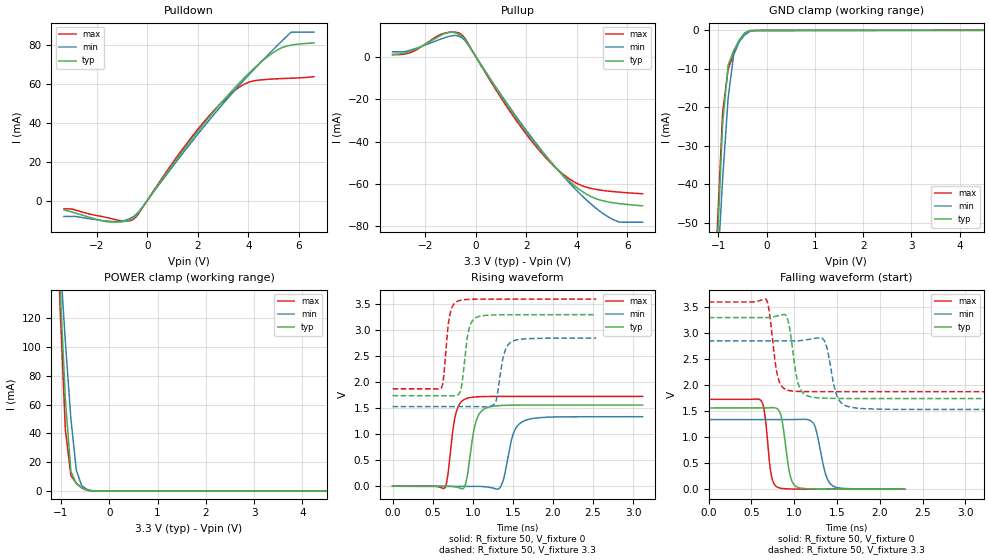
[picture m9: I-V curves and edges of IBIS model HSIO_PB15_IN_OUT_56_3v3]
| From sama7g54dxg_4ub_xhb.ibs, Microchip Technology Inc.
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|   Model   HSIO_PB15_IN_OUT_66
[Model] HSIO_PB15_IN_OUT_56_3v3
Model_type I/O
Enable   Active-High
Vinl  =  0.99
Vinh  =  2.31
Vmeas =  1.650
| Capacitance   typ   min   max
C_comp   1.068321978062917e-12   1.016334733226081e-12   1.138611340369402e-12
| Variables   typ   min   max
[GND Clamp Reference]   0   0   0
[POWER Clamp Reference]   3.3   2.85   3.6
[Pulldown Reference]   0   0   0
[Pullup Reference]   3.3   2.85   3.6
[Temperature Range]   25   125   -40
[Voltage Range]   3.3   2.85   3.6
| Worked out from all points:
|   slope of the pulldown table from 0 to 0.495 V, typ, clamps not added: 54.1 ohm
|   slope of the pullup table from 0 to 0.495 V, typ, clamps not added: 52.9 ohm
|   GND clamp passes 1 mA (typ) near -0.47 V on its own axis
|   POWER clamp passes 1 mA (typ) near -0.50 V on its own axis
|   falling waveform, R_fixture 50, V_fixture 0: 20-80 % time 80.4ps typ, 104ps min, 63.3ps max; typ from 1.56 V to 0.001 V
|   falling waveform, R_fixture 50, V_fixture 3.3: 20-80 % time 86ps typ, 99ps min, 77.5ps max; typ from 3.3 V to 1.74 V
|   rising waveform, R_fixture 50, V_fixture 0: 20-80 % time 98.1ps typ, 118ps min, 86.9ps max; typ from 0 V to 1.56 V
|   rising waveform, R_fixture 50, V_fixture 3.3: 20-80 % time 75.8ps typ, 88.1ps min, 64.8ps max; typ from 1.74 V to 3.3 V
[GND Clamp]
| Voltage   I(typ)   I(min)   I(max)
-3.3V     -929.1mA   -542.5mA   -1.152A
-1.024V   -57.05mA   -64.05mA   -52.48mA
-910.3mV  -24.26mA   -38.73mA   -21.41mA
-796.6mV  -9.1mA     -17.67mA   -10.13mA
-682.8mV  -5.32mA    -6.383mA   -6.018mA
-569mV    -2.568mA   -3.041mA   -2.759mA
-455.2mV  -677.7uA   -1.206mA   -728.3uA
-341.4mV  -70.25uA   -271.9uA   -72.06uA
-113.8mV  -34.12uA   -25.48uA   -45.7uA
6.6V      0A         0A         0A
[POWER Clamp]
| Voltage   I(typ)   I(min)   I(max)
-3.3V     2.134A     1.237A     2.671A
-1.138V   234.7mA    225.9mA    258.9mA
-1.024V   144.5mA    163.2mA    130.8mA
-910.3mV  63.72mA    103.5mA    42.5mA
-796.6mV  13.63mA    50.37mA    10.74mA
-682.8mV  4.957mA    14.13mA    5.284mA
-569mV    2.071mA    3.44mA     2.128mA
-455.2mV  359.6uA    975.1uA    378.6uA
-227.6mV  2.45uA     12.53uA    2.818uA
6.6V      0A         0A         0A
[Pulldown]
| Voltage   I(typ)   I(min)   I(max)
-3.3V     -4.814mA   -8.18mA    -4.296mA
-1.593V   -10.89mA   -10.55mA   -8.774mA
-1.024V   -10.96mA   -10.6mA    -10.4mA
-569mV    -9.249mA   -8.451mA   -9.808mA
-227.6mV  -4.201mA   -3.951mA   -4.481mA
1.934V    34.4mA     32.97mA    35.52mA
2.731V    47.14mA    45.61mA    47.52mA
3.528V    58.78mA    57.54mA    57.12mA
4.097V    66.27mA    65.63mA    61.08mA
4.893V    75.16mA    76.35mA    62.36mA
5.69V     79.81mA    86.43mA    62.83mA
6.6V      80.95mA    86.52mA    63.61mA
[Pullup]
| Voltage   I(typ)   I(min)   I(max)
-3.3V     1.027mA    2.356mA    1.022mA
-2.503V   2.968mA    3.458mA    2.416mA
-1.138V   11.39mA    9.363mA    11.35mA
-569mV    9.925mA    9.112mA    10.54mA
-341.4mV  6.559mA    6.218mA    6.96mA
1.707V    -30.73mA   -30mA      -31.85mA
2.503V    -43.21mA   -42.65mA   -44.07mA
3.3V      -54.04mA   -54.18mA   -53.88mA
4.324V    -64.42mA   -66.98mA   -61.34mA
5.234V    -68.47mA   -75.52mA   -63.36mA
5.69V     -69.28mA   -78.01mA   -63.88mA
6.6V      -70.31mA   -78.04mA   -64.62mA
[Ramp]
dV/dt_r   0.937498/98.1024p  0.80293/0.117614n  1.03705/86.9424p
dV/dt_f   0.934732/86.0969p  0.790335/99.1116p  1.03551/77.5311p
R_load = 50
[Falling Waveform]
R_fixture = 50
V_fixture = 0
V_fixture_min = 0
V_fixture_max = 0
| Time   V(typ)   V(min)   V(max)
0s        1.562V     1.338V     1.728V
612.1ps   1.563V     1.338V     1.702V
658.7ps   1.563V     1.338V     1.405V
732.5ps   1.568V     1.338V     263.9mV
813.5ps   1.528V     1.338V     30.13mV
945ps     314.5mV    1.338V     4.643mV
1.018ns   54.55mV    1.339V     2.445mV
1.228ns   4.724mV    1.258V     860.9uV
1.451ns   1.284mV    62.69mV    860.4uV
2.29ns    884.6uV    647.7uV    858.4uV
[Falling Waveform]
R_fixture = 50
V_fixture = 3.3
V_fixture_min = 2.85
V_fixture_max = 3.6
| Time   V(typ)   V(min)   V(max)
0s        3.3V       2.85V      3.6V
670.3ps   3.299V     2.849V     3.651V
806.4ps   3.336V     2.849V     2.169V
916.5ps   3.297V     2.849V     1.907V
1.045ns   2.035V     2.853V     1.88V
1.165ns   1.788V     2.881V     1.876V
1.348ns   1.75V      2.867V     1.875V
1.497ns   1.745V     1.799V     1.875V
1.631ns   1.743V     1.588V     1.875V
4.037ns   1.743V     1.533V     1.874V
[Rising Waveform]
R_fixture = 50
V_fixture = 0
V_fixture_min = 0
V_fixture_max = 0
| Time   V(typ)   V(min)   V(max)
0s        36.39nV    316.8nV    138.3nV
648.3ps   -197.4uV   -418.9uV   -38.26mV
788.2ps   -13.31mV   -509.4uV   1.392V
921.1ps   117.1mV    -595.4uV   1.688V
1.037ns   1.226V     -670uV     1.718V
1.171ns   1.507V     -13.13mV   1.726V
1.353ns   1.553V     6.012mV    1.727V
1.504ns   1.56V      1.003V     1.728V
1.637ns   1.561V     1.255V     1.728V
3.118ns   1.562V     1.338V     1.728V
[Rising Waveform]
R_fixture = 50
V_fixture = 3.3
V_fixture_min = 2.85
V_fixture_max = 3.6
| Time   V(typ)   V(min)   V(max)
0s        1.742V     1.533V     1.874V
607.8ps   1.742V     1.532V     1.893V
711.1ps   1.741V     1.532V     3.27V
813.1ps   1.754V     1.532V     3.56V
950.7ps   3.004V     1.532V     3.593V
1.039ns   3.243V     1.532V     3.598V
1.281ns   3.295V     1.607V     3.599V
1.39ns    3.298V     2.545V     3.599V
1.485ns   3.299V     2.781V     3.599V
2.539ns   3.3V       2.85V      3.6V
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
